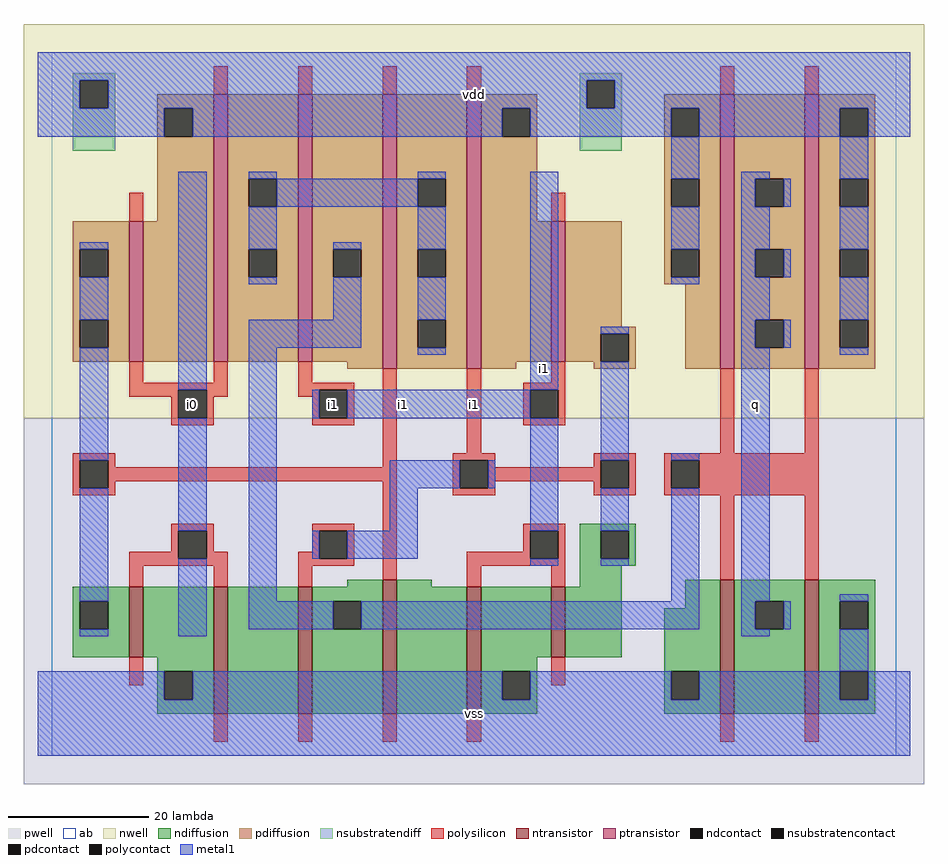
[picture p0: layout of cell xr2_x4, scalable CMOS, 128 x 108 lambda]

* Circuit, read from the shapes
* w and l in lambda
.subckt xr2_x4 i0 i1 q vdd vss
M1 vss i0 n1 VSUBS nfet w=10 l=2
M2 n2 i0 vss VSUBS nfet w=18 l=2
M3 n3 n4 n2 VSUBS nfet w=18 l=2
M4 n5 n1 n3 VSUBS nfet w=19 l=2
M5 vss i1 n5 VSUBS nfet w=18 l=2
M6 n4 i1 vss VSUBS nfet w=10 l=2
M7 q n3 vss VSUBS nfet w=19 l=2 m=2
M8 vdd i0 n1 vdd pfet w=20 l=2
M9 n6 i0 vdd vdd pfet w=38 l=2
M10 n3 i1 n6 vdd pfet w=38 l=2
M11 n6 n1 n3 vdd pfet w=39 l=2
M12 vdd n4 n6 vdd pfet w=39 l=2
M13 n4 i1 vdd vdd pfet w=20 l=2
M14 q n3 vdd vdd pfet w=39 l=2 m=2
.ends

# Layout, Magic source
magic
tech scmos
<< ab >>
rect 0 0 120 100
<< pwell >>
rect -4 -4 124 48
<< nwell >>
rect -4 48 124 104
<< polysilicon >>
rect 23 94 25 98
rect 35 94 37 98
rect 47 94 49 98
rect 59 94 61 98
rect 11 76 13 80
rect 11 53 13 56
rect 23 53 25 56
rect 11 52 25 53
rect 11 51 18 52
rect 17 48 18 51
rect 22 51 25 52
rect 35 53 37 56
rect 95 94 97 98
rect 107 94 109 98
rect 71 76 73 80
rect 35 52 43 53
rect 35 51 38 52
rect 22 48 23 51
rect 17 47 23 48
rect 37 48 38 51
rect 42 48 43 52
rect 37 47 43 48
rect 3 42 9 43
rect 3 38 4 42
rect 8 41 9 42
rect 47 41 49 55
rect 59 43 61 55
rect 71 53 73 56
rect 67 52 73 53
rect 67 48 68 52
rect 72 48 73 52
rect 67 47 73 48
rect 95 43 97 55
rect 107 43 109 55
rect 8 39 49 41
rect 8 38 9 39
rect 3 37 9 38
rect 17 32 23 33
rect 17 29 18 32
rect 11 28 18 29
rect 22 29 23 32
rect 37 32 43 33
rect 37 29 38 32
rect 22 28 25 29
rect 11 27 25 28
rect 11 24 13 27
rect 23 24 25 27
rect 35 28 38 29
rect 42 28 43 32
rect 35 27 43 28
rect 35 24 37 27
rect 47 25 49 39
rect 57 42 63 43
rect 57 38 58 42
rect 62 41 63 42
rect 77 42 83 43
rect 77 41 78 42
rect 62 39 78 41
rect 62 38 63 39
rect 57 37 63 38
rect 77 38 78 39
rect 82 38 83 42
rect 77 37 83 38
rect 87 42 109 43
rect 87 38 88 42
rect 92 38 109 42
rect 87 37 109 38
rect 67 32 73 33
rect 67 29 68 32
rect 59 28 68 29
rect 72 28 73 32
rect 59 27 73 28
rect 11 10 13 14
rect 59 24 61 27
rect 71 24 73 27
rect 95 25 97 37
rect 107 25 109 37
rect 71 10 73 14
rect 23 2 25 6
rect 35 2 37 6
rect 47 2 49 6
rect 59 2 61 6
rect 95 2 97 6
rect 107 2 109 6
<< ndiffusion >>
rect 42 24 47 25
rect 3 22 11 24
rect 3 18 4 22
rect 8 18 11 22
rect 3 14 11 18
rect 13 14 23 24
rect 15 12 23 14
rect 15 8 16 12
rect 20 8 23 12
rect 15 6 23 8
rect 25 6 35 24
rect 37 22 47 24
rect 37 18 40 22
rect 44 18 47 22
rect 37 6 47 18
rect 49 24 54 25
rect 75 32 83 33
rect 75 28 78 32
rect 82 28 83 32
rect 75 27 83 28
rect 75 24 81 27
rect 49 6 59 24
rect 61 14 71 24
rect 73 14 81 24
rect 90 21 95 25
rect 61 12 69 14
rect 61 8 64 12
rect 68 8 69 12
rect 87 12 95 21
rect 61 6 69 8
rect 87 8 88 12
rect 92 8 95 12
rect 87 6 95 8
rect 97 22 107 25
rect 97 18 100 22
rect 104 18 107 22
rect 97 6 107 18
rect 109 22 117 25
rect 109 18 112 22
rect 116 18 117 22
rect 109 12 117 18
rect 109 8 112 12
rect 116 8 117 12
rect 109 6 117 8
<< pdiffusion >>
rect 15 92 23 94
rect 15 88 16 92
rect 20 88 23 92
rect 15 76 23 88
rect 3 72 11 76
rect 3 68 4 72
rect 8 68 11 72
rect 3 62 11 68
rect 3 58 4 62
rect 8 58 11 62
rect 3 56 11 58
rect 13 56 23 76
rect 25 82 35 94
rect 25 78 28 82
rect 32 78 35 82
rect 25 72 35 78
rect 25 68 28 72
rect 32 68 35 72
rect 25 56 35 68
rect 37 72 47 94
rect 37 68 40 72
rect 44 68 47 72
rect 37 56 47 68
rect 42 55 47 56
rect 49 82 59 94
rect 49 78 52 82
rect 56 78 59 82
rect 49 72 59 78
rect 49 68 52 72
rect 56 68 59 72
rect 49 62 59 68
rect 49 58 52 62
rect 56 58 59 62
rect 49 55 59 58
rect 61 92 69 94
rect 61 88 64 92
rect 68 88 69 92
rect 61 76 69 88
rect 87 92 95 94
rect 87 88 88 92
rect 92 88 95 92
rect 87 82 95 88
rect 87 78 88 82
rect 92 78 95 82
rect 61 56 71 76
rect 73 61 81 76
rect 87 72 95 78
rect 87 68 88 72
rect 92 68 95 72
rect 87 67 95 68
rect 73 60 83 61
rect 73 56 78 60
rect 82 56 83 60
rect 61 55 66 56
rect 77 55 83 56
rect 90 55 95 67
rect 97 82 107 94
rect 97 78 100 82
rect 104 78 107 82
rect 97 72 107 78
rect 97 68 100 72
rect 104 68 107 72
rect 97 62 107 68
rect 97 58 100 62
rect 104 58 107 62
rect 97 55 107 58
rect 109 92 117 94
rect 109 88 112 92
rect 116 88 117 92
rect 109 82 117 88
rect 109 78 112 82
rect 116 78 117 82
rect 109 72 117 78
rect 109 68 112 72
rect 116 68 117 72
rect 109 62 117 68
rect 109 58 112 62
rect 116 58 117 62
rect 109 55 117 58
<< metal1 >>
rect -2 96 122 100
rect -2 92 4 96
rect 8 92 76 96
rect 80 92 122 96
rect -2 88 16 92
rect 20 88 64 92
rect 68 88 88 92
rect 92 88 112 92
rect 116 88 122 92
rect 4 72 8 73
rect 4 62 8 68
rect 4 42 8 58
rect 4 22 8 38
rect 4 17 8 18
rect 18 52 22 83
rect 28 82 32 83
rect 52 82 56 83
rect 32 78 52 82
rect 28 72 32 78
rect 28 67 32 68
rect 40 72 44 73
rect 40 62 44 68
rect 18 32 22 48
rect 18 17 22 28
rect 28 58 44 62
rect 52 72 56 78
rect 52 62 56 68
rect 28 22 32 58
rect 52 57 56 58
rect 68 52 72 83
rect 88 82 92 88
rect 88 72 92 78
rect 88 67 92 68
rect 98 82 102 83
rect 112 82 116 88
rect 98 78 100 82
rect 104 78 105 82
rect 98 72 102 78
rect 112 72 116 78
rect 98 68 100 72
rect 104 68 105 72
rect 98 62 102 68
rect 112 62 116 68
rect 37 48 38 52
rect 42 48 68 52
rect 48 38 58 42
rect 62 38 63 42
rect 48 32 52 38
rect 37 28 38 32
rect 42 28 52 32
rect 68 32 72 48
rect 68 27 72 28
rect 78 60 82 61
rect 78 42 82 56
rect 98 58 100 62
rect 104 58 105 62
rect 78 32 82 38
rect 78 27 82 28
rect 88 42 92 43
rect 88 22 92 38
rect 28 18 40 22
rect 44 18 92 22
rect 98 22 102 58
rect 112 57 116 58
rect 112 22 116 23
rect 98 18 100 22
rect 104 18 105 22
rect 98 17 102 18
rect 112 12 116 18
rect -2 8 16 12
rect 20 8 64 12
rect 68 8 88 12
rect 92 8 112 12
rect 116 8 122 12
rect -2 0 122 8
<< ntransistor >>
rect 11 14 13 24
rect 23 6 25 24
rect 35 6 37 24
rect 47 6 49 25
rect 59 6 61 24
rect 71 14 73 24
rect 95 6 97 25
rect 107 6 109 25
<< ptransistor >>
rect 11 56 13 76
rect 23 56 25 94
rect 35 56 37 94
rect 47 55 49 94
rect 59 55 61 94
rect 71 56 73 76
rect 95 55 97 94
rect 107 55 109 94
<< polycontact >>
rect 18 48 22 52
rect 38 48 42 52
rect 4 38 8 42
rect 68 48 72 52
rect 18 28 22 32
rect 38 28 42 32
rect 58 38 62 42
rect 78 38 82 42
rect 88 38 92 42
rect 68 28 72 32
<< ndcontact >>
rect 4 18 8 22
rect 16 8 20 12
rect 40 18 44 22
rect 78 28 82 32
rect 64 8 68 12
rect 88 8 92 12
rect 100 18 104 22
rect 112 18 116 22
rect 112 8 116 12
<< pdcontact >>
rect 16 88 20 92
rect 4 68 8 72
rect 4 58 8 62
rect 28 78 32 82
rect 28 68 32 72
rect 40 68 44 72
rect 52 78 56 82
rect 52 68 56 72
rect 52 58 56 62
rect 64 88 68 92
rect 88 88 92 92
rect 88 78 92 82
rect 88 68 92 72
rect 78 56 82 60
rect 100 78 104 82
rect 100 68 104 72
rect 100 58 104 62
rect 112 88 116 92
rect 112 78 116 82
rect 112 68 116 72
rect 112 58 116 62
<< nsubstratencontact >>
rect 4 92 8 96
rect 76 92 80 96
<< nsubstratendiff >>
rect 3 96 9 97
rect 3 92 4 96
rect 8 92 9 96
rect 75 96 81 97
rect 3 86 9 92
rect 75 92 76 96
rect 80 92 81 96
rect 75 86 81 92
<< labels >>
rlabel polycontact 20 50 20 50 6 i0
rlabel polycontact 40 50 40 50 6 i1
rlabel metal1 60 6 60 6 6 vss
rlabel metal1 50 50 50 50 6 i1
rlabel metal1 60 50 60 50 6 i1
rlabel metal1 60 94 60 94 6 vdd
rlabel metal1 70 55 70 55 6 i1
rlabel metal1 100 50 100 50 6 q
<< end >>
